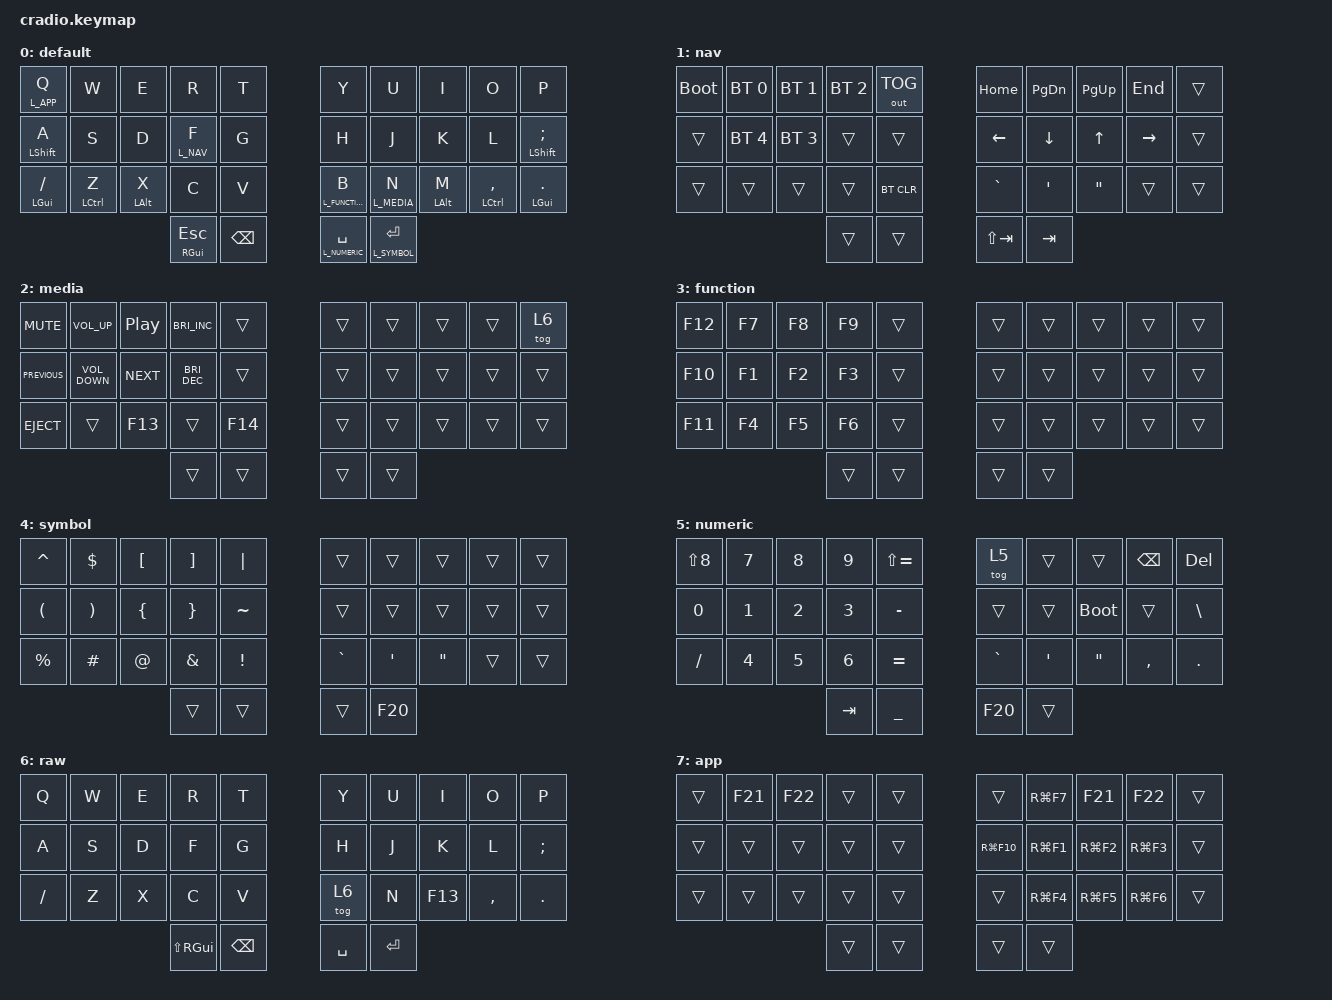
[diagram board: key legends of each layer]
#include <dt-bindings/zmk/outputs.h>

#include <behaviors.dtsi>
#include <dt-bindings/zmk/keys.h>
#include <dt-bindings/zmk/bt.h>
#include <dt-bindings/zmk/ext_power.h>

#define L_DEFAULT 0
#define L_NAV 1
#define L_MEDIA 2
#define L_FUNCTION 3
#define L_SYMBOL 4
#define L_NUMERIC 5
#define L_RAW 6
#define L_APP 7

/ {
  keymap {
    compatible = "zmk,keymap";
    default {
      bindings = <

        //╭─────────-─┬─────────-─┬──-────────┬─-─────────┬─-─────────╮   ╭──-────────┬─-─────────┬───-───────┬───-───────┬──-────────╮
        //│   Q       │   W       │   E       │   R       │   T       │   │   Y       │   U       │   I       │   O       │   P       │
            &lt L_APP Q &kp W        &kp E       &kp R       &kp T           &kp Y       &kp U       &kp I       &kp O       &kp P 
        //├──-────────┼──-────────┼─-─────────┼────-──────┼─────-─────┤   ├──────-────┼────-──────┼────-──────┼─────-─────┼──-────────┤
        //│   A       │   S       │   D       │   F       │   G       │   │   H       │   J       │   K       │   L       │  ;        │
        &mt LEFT_SHIFT A &kp S      &kp D      &lt L_NAV F  &kp G           &kp H       &kp J       &kp K       &kp L       &mt LEFT_SHIFT SEMICOLON 
        //├──-────────┼──-────────┼─-─────────┼────-──────┼─────-─────┤   ├──────-────┼────-──────┼────-──────┼─────-─────┼──-────────┤
        //│   /       │   Z       │   X       │   C       │   V       │   │   B       │   N       │   M       │  , <      │  . >      │
            &mt LEFT_GUI SLASH &mt LEFT_CONTROL Z &mt LEFT_ALT X &kp C &kp V &lt L_FUNCTION B &lt L_MEDIA N &mt LEFT_ALT M &mt LEFT_CONTROL COMMA &mt LEFT_GUI DOT
        //╰──────-────┴────────-──┴─────-─────┼───-───────┼─────-─────┤   ├────-──────┼────-──────┼─────-─────┴──────-────┴───-───────╯
                                           &mt RIGHT_GUI ESCAPE &kp BACKSPACE &lt L_NUMERIC SPACE &lt L_SYMBOL ENTER
        //                                    ╰─────────-─┴────────-──╯   ╰────────-──┴─────────-─╯
      >;
    };
    nav {
      bindings = <
        //╭─────────-─┬─────────-─┬──-────────┬─-─────────┬─-─────────╮   ╭──-────────┬─-─────────┬───-───────┬───-───────┬──-────────╮
        //│   Q       │   W       │   E       │   R       │   T       │   │   Y       │   U       │   I       │   O       │   P       │
          &bootloader &bt BT_SEL 0 &bt BT_SEL 1 &bt BT_SEL 2 &out OUT_TOG   &kp HOME    &kp PAGE_DOWN &kp PAGE_UP &kp END   &trans
        //├──-────────┼──-────────┼─-─────────┼────-──────┼─────-─────┤   ├──────-────┼────-──────┼────-──────┼─────-─────┼──-────────┤
        //│   A       │   S       │   D       │   F       │   G       │   │   H       │   J       │   K       │   L       │  ;        │
            &trans    &bt BT_SEL 4 &bt BT_SEL 3 &trans       &trans         &kp LEFT    &kp DOWN    &kp UP      &kp RIGHT   &trans
        //├──-────────┼──-────────┼─-─────────┼────-──────┼─────-─────┤   ├──────-────┼────-──────┼────-──────┼─────-─────┼──-────────┤
        //│   /       │   Z       │   X       │   C       │   V       │   │   B       │   N       │   M       │  , <      │  . >      │
            &trans      &trans      &trans      &trans      &bt BT_CLR      &kp GRAVE &kp SINGLE_QUOTE &kp DQT  &trans      &trans
        //╰──────-────┴────────-──┴─────-─────┼───-───────┼─────-─────┤   ├────-──────┼────-──────┼─────-─────┴──────-────┴───-───────╯
                                                &trans      &trans          &kp LS(TAB) &kp TAB
        //                                    ╰─────────-─┴────────-──╯   ╰────────-──┴─────────-─╯
      >;
    };
    media {
      bindings = <
        //╭─────────-─┬─────────-─┬──-────────┬─-─────────┬─-─────────╮   ╭──-────────┬─-─────────┬───-───────┬───-───────┬──-────────╮
        //│   Q       │   W       │   E       │   R       │   T       │   │   Y       │   U       │   I       │   O       │   P       │
        &kp C_MUTE &kp C_VOLUME_UP &kp C_PLAY_PAUSE &kp C_BRIGHTNESS_INC &trans &trans &trans       &trans      &trans      &tog 6
        //├──-────────┼──-────────┼─-─────────┼────-──────┼─────-─────┤   ├──────-────┼────-──────┼────-──────┼─────-─────┼──-────────┤
        //│   A       │   S       │   D       │   F       │   G       │   │   H       │   J       │   K       │   L       │  ;        │
        &kp C_PREVIOUS &kp C_VOLUME_DOWN &kp C_NEXT &kp C_BRIGHTNESS_DEC &trans &trans &trans       &trans      &trans      &trans
        //├──-────────┼──-────────┼─-─────────┼────-──────┼─────-─────┤   ├──────-────┼────-──────┼────-──────┼─────-─────┼──-────────┤
        //│   /       │   Z       │   X       │   C       │   V       │   │   B       │   N       │   M       │  , <      │  . >      │
           &kp C_EJECT  &trans      &kp F13     &trans      &kp F14         &trans      &trans      &trans      &trans      &trans 
        //╰──────-────┴────────-──┴─────-─────┼───-───────┼─────-─────┤   ├────-──────┼────-──────┼─────-─────┴──────-────┴───-───────╯
                                                &trans      &trans          &trans      &trans
        //                                    ╰─────────-─┴────────-──╯   ╰────────-──┴─────────-─╯
      >;
    };
    function {
      bindings = <
        //╭─────────-─┬─────────-─┬──-────────┬─-─────────┬─-─────────╮   ╭──-────────┬─-─────────┬───-───────┬───-───────┬──-────────╮
        //│   Q       │   W       │   E       │   R       │   T       │   │   Y       │   U       │   I       │   O       │   P       │
            &kp F12     &kp F7      &kp F8      &kp F9      &trans          &trans      &trans      &trans      &trans      &trans
        //├──-────────┼──-────────┼─-─────────┼────-──────┼─────-─────┤   ├──────-────┼────-──────┼────-──────┼─────-─────┼──-────────┤
        //│   A       │   S       │   D       │   F       │   G       │   │   H       │   J       │   K       │   L       │  ;        │
            &kp F10     &kp F1      &kp F2      &kp F3      &trans          &trans      &trans      &trans      &trans      &trans 
        //├──-────────┼──-────────┼─-─────────┼────-──────┼─────-─────┤   ├──────-────┼────-──────┼────-──────┼─────-─────┼──-────────┤
        //│   /       │   Z       │   X       │   C       │   V       │   │   B       │   N       │   M       │  , <      │  . >      │
            &kp F11     &kp F4      &kp F5      &kp F6      &trans          &trans      &trans      &trans      &trans      &trans
        //╰──────-────┴────────-──┴─────-─────┼───-───────┼─────-─────┤   ├────-──────┼────-──────┼─────-─────┴──────-────┴───-───────╯
                                                &trans      &trans          &trans      &trans
        //                                    ╰─────────-─┴────────-──╯   ╰────────-──┴─────────-─╯
      >;
    };
    symbol {
      bindings = <
        //╭─────────-─┬─────────-─┬──-────────┬─-─────────┬─-─────────╮   ╭──-────────┬─-─────────┬───-───────┬───-───────┬──-────────╮
        //│   Q       │   W       │   E       │   R       │   T       │   │   Y       │   U       │   I       │   O       │   P       │
            &kp CARET   &kp DOLLAR &kp LEFT_BRACKET &kp RIGHT_BRACKET &kp PIPE &trans   &trans      &trans      &trans      &trans 
        //├──-────────┼──-────────┼─-─────────┼────-──────┼─────-─────┤   ├──────-────┼────-──────┼────-──────┼─────-─────┼──-────────┤
        //│   A       │   S       │   D       │   F       │   G       │   │   H       │   J       │   K       │   L       │  ;        │
            &kp LPAR    &kp RPAR    &kp LBRC    &kp RBRC    &kp TILDE       &trans      &trans      &trans      &trans      &trans 
        //├──-────────┼──-────────┼─-─────────┼────-──────┼─────-─────┤   ├──────-────┼────-──────┼────-──────┼─────-─────┼──-────────┤
        //│   /       │   Z       │   X       │   C       │   V       │   │   B       │   N       │   M       │  , <      │  . >      │
            &kp PERCENT &kp HASH    &kp AT      &kp AMPS    &kp EXCL        &kp GRAVE &kp SINGLE_QUOTE &kp DQT  &trans      &trans
        //╰──────-────┴────────-──┴─────-─────┼───-───────┼─────-─────┤   ├────-──────┼────-──────┼─────-─────┴──────-────┴───-───────╯
                                                &trans      &trans          &trans      &kp F20
        //                                    ╰─────────-─┴────────-──╯   ╰────────-──┴─────────-─╯
      >;
    };
    numeric {
      bindings = <
        //╭─────────-─┬─────────-─┬──-────────┬─-─────────┬─-─────────╮   ╭──-────────┬─-─────────┬───-───────┬───-───────┬──-────────╮
        //│   Q       │   W       │   E       │   R       │   T       │   │   Y       │   U       │   I       │   O       │   P       │
            &kp LS(N8)  &kp N7      &kp N8      &kp N9      &kp LS(EQL)     &tog 5      &trans      &trans    &kp BACKSPACE &kp DELETE
        //├──-────────┼──-────────┼─-─────────┼────-──────┼─────-─────┤   ├──────-────┼────-──────┼────-──────┼─────-─────┼──-────────┤
        //│   A       │   S       │   D       │   F       │   G       │   │   H       │   J       │   K       │   L       │  ;        │
            &kp N0      &kp N1      &kp N2      &kp N3      &kp MINUS       &trans      &trans      &bootloader &trans    &kp BACKSLASH
        //├──-────────┼──-────────┼─-─────────┼────-──────┼─────-─────┤   ├──────-────┼────-──────┼────-──────┼─────-─────┼──-────────┤
        //│   /       │   Z       │   X       │   C       │   V       │   │   B       │   N       │   M       │  , <      │  . >      │
            &kp SLASH   &kp N4      &kp N5      &kp N6      &kp EQUAL       &kp GRAVE &kp SINGLE_QUOTE &kp DQT  &kp COMMA   &kp DOT
        //╰──────-────┴────────-──┴─────-─────┼───-───────┼─────-─────┤   ├────-──────┼────-──────┼─────-─────┴──────-────┴───-───────╯
                                                &kp TAB     &kp UNDER       &kp F20     &trans
        //                                    ╰─────────-─┴────────-──╯   ╰────────-──┴─────────-─╯
      >;
    };
    raw {
      bindings = <
        //╭─────────-─┬─────────-─┬──-────────┬─-─────────┬─-─────────╮   ╭──-────────┬─-─────────┬───-───────┬───-───────┬──-────────╮
        //│   Q       │   W       │   E       │   R       │   T       │   │   Y       │   U       │   I       │   O       │   P       │
            &kp Q       &kp W       &kp E       &kp R       &kp T           &kp Y       &kp U       &kp I       &kp O       &kp P
        //├──-────────┼──-────────┼─-─────────┼────-──────┼─────-─────┤   ├──────-────┼────-──────┼────-──────┼─────-─────┼──-────────┤
        //│   A       │   S       │   D       │   F       │   G       │   │   H       │   J       │   K       │   L       │  ;        │
            &kp A       &kp S       &kp D       &kp F       &kp G           &kp H       &kp J       &kp K       &kp L     &kp SEMICOLON 
        //├──-────────┼──-────────┼─-─────────┼────-──────┼─────-─────┤   ├──────-────┼────-──────┼────-──────┼─────-─────┼──-────────┤
        //│   /       │   Z       │   X       │   C       │   V       │   │   B       │   N       │   M       │  , <      │  . >      │
            &kp SLASH   &kp Z       &kp X       &kp C       &kp V           &tog 6      &kp N       &kp F13     &kp COMMA   &kp DOT
        //╰──────-────┴────────-──┴─────-─────┼───-───────┼─────-─────┤   ├────-──────┼────-──────┼─────-─────┴──────-────┴───-───────╯
                                              &kp LS(RGUI) &kp BACKSPACE    &kp SPACE   &kp ENTER
        //                                    ╰─────────-─┴────────-──╯   ╰────────-──┴─────────-─╯
        >;
    };
    app {
      bindings = <
        //╭─────────-─┬─────────-─┬──-────────┬─-─────────┬─-─────────╮   ╭──-────────┬─-─────────┬───-───────┬───-───────┬──-────────╮
        //│   Q       │   W       │   E       │   R       │   T       │   │   Y       │   U       │   I       │   O       │   P       │
            &trans      &kp F21     &kp F22     &trans      &trans          &trans      &kp RG(F7)  &kp F21     &kp F22     &trans
        //├──-────────┼──-────────┼─-─────────┼────-──────┼─────-─────┤   ├──────-────┼────-──────┼────-──────┼─────-─────┼──-────────┤
        //│   A       │   S       │   D       │   F       │   G       │   │   H       │   J       │   K       │   L       │  ;        │
            &trans      &trans      &trans      &trans      &trans          &kp RG(F10) &kp RG(F1)  &kp RG(F2)  &kp RG(F3)  &trans
        //├──-────────┼──-────────┼─-─────────┼────-──────┼─────-─────┤   ├──────-────┼────-──────┼────-──────┼─────-─────┼──-────────┤
        //│   /       │   Z       │   X       │   C       │   V       │   │   B       │   N       │   M       │  , <      │  . >      │
            &trans      &trans      &trans      &trans      &trans          &trans      &kp RG(F4)  &kp RG(F5)  &kp RG(F6)  &trans
        //╰──────-────┴────────-──┴─────-─────┼───-───────┼─────-─────┤   ├────-──────┼────-──────┼─────-─────┴──────-────┴───-───────╯
                                                &trans      &trans          &trans      &trans
        //                                    ╰─────────-─┴────────-──╯   ╰────────-──┴─────────-─╯
      >;
    };
  };
};
&mt {
flavor = "balanced";
};
